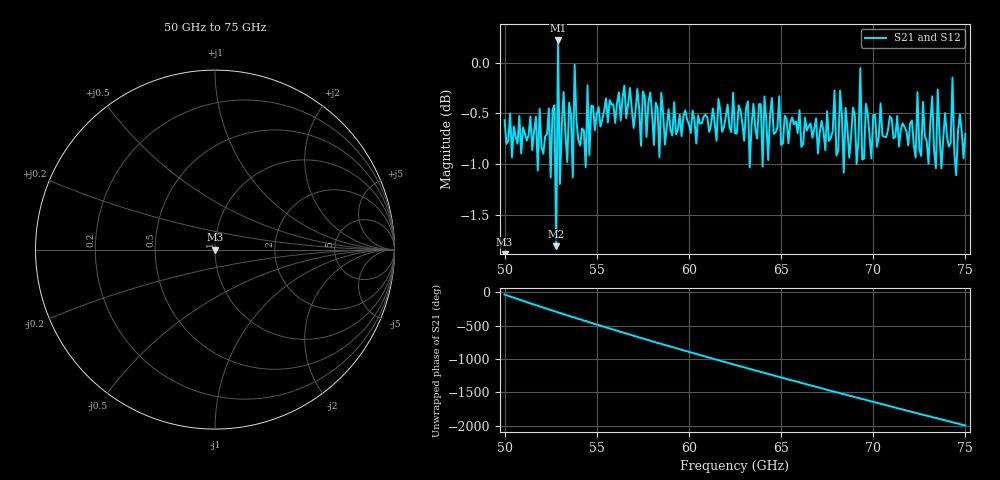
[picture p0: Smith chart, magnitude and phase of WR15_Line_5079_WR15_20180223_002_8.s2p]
# GHZ S RI R 50
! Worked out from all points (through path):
!   251 points, 50 GHz to 75 GHz, reference 50 ohm
!   highest |S21| = 0.22 dB at 52.9 GHz (marker M1); lowest = -1.8 dB at 52.8 GHz (marker M2)
!   lowest |S11| = - dB at 50 GHz (marker M3), VSWR 1.00, Z = 50 + j1.31e-15 ohm
!   |S11| at or under -10 dB: start of sweep to end of sweep
!   |S22| runs from - to - dB; largest |S21 - S12| = 2.1e-15
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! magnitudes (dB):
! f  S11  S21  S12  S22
! 50 GHz  -  -0.6  -0.6  -
! 51.8 GHz  -  -1.1  -1.1  -
! 52.4 GHz  -  -0.5  -0.5  -
! 52.5 GHz  -  -1.1  -1.1  -
! 52.7 GHz  -  -0.4  -0.4  -
! 52.8 GHz  -  -1.8  -1.8  -
! 52.9 GHz  -  0.2  0.2  -
! 53 GHz  -  -1.2  -1.2  -
! 53.2 GHz  -  -0.3  -0.3  -
! 53.7 GHz  -  -1.1  -1.1  -
! 53.8 GHz  -  0.0  0.0  -
! 54.2 GHz  -  -0.6  -0.6  -
! 57.9 GHz  -  -0.3  -0.3  -
! 58.4 GHz  -  -0.9  -0.9  -
! 58.5 GHz  -  -0.3  -0.3  -
! 62.5 GHz  -  -0.7  -0.7  -
! 66.7 GHz  -  -0.7  -0.7  -
! 69.1 GHz  -  -1.0  -1.0  -
! 69.3 GHz  -  -0.1  -0.1  -
! 69.4 GHz  -  -1.0  -1.0  -
! 70.9 GHz  -  -0.5  -0.5  -
! 75 GHz  -  -0.7  -0.7  -
